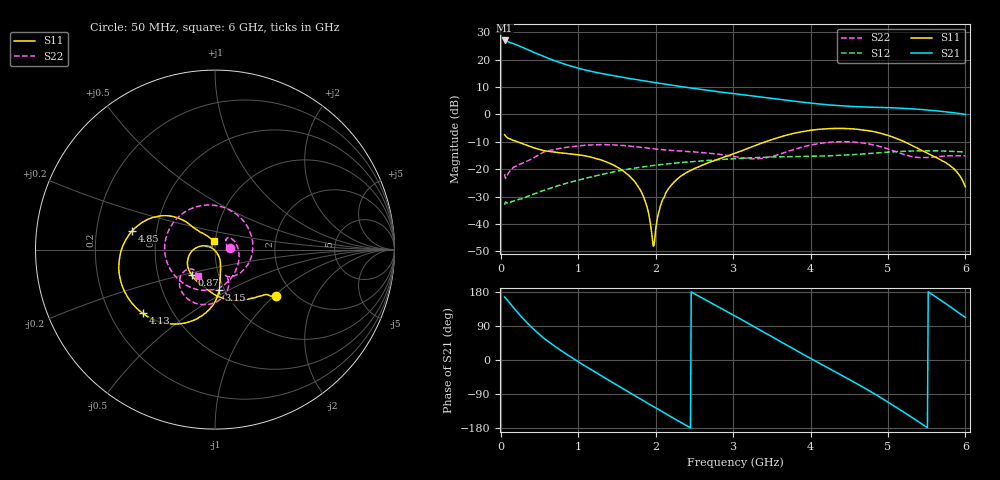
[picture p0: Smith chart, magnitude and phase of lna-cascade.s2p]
! agentee lna-cascade
! ports IN OUT
# Hz S RI R 50
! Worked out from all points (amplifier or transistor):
!   596 points, 50 MHz to 6 GHz, reference 50 ohm
!   highest |S21| = 27.0 dB at 50 MHz (marker M1)
!   |S21| within 3 dB of that: start of sweep to 319.9 MHz
!   unconditionally stable (mu >= 1): start of sweep to end of sweep
!   at 1.04 GHz: K = 1.26, MAG = 17.1 dB, |S12| = -23.7 dB
!   at 3.03 GHz: K = 1.41, MAG = 8.0 dB, |S12| = -16.1 dB
!   at 6 GHz: K = 2.46, MAG = 0.1 dB, |S12| = -13.8 dB
!   S11 on the Smith chart (normalised r, x): 50 MHz: 1.63, -1.02; 870 MHz: 0.74, -0.22; 3.15 GHz: 0.94, -0.45; 4.13 GHz: 0.34, -0.34; 4.85 GHz: 0.36, +0.10; 6 GHz: 0.98, +0.09
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5e7  0.3382 -0.2568  -21.7 5.357  0.0209 0.00821  0.0808 0.00888
1.8e8  0.1779 -0.2781  -13.45 13.65  0.0265 0.00429  0.0929 0.0608
2.4e8  0.1179 -0.2836  -8.929 15.29  0.0281 0.00514  0.1172 0.0349
3e8  0.0661 -0.2788  -4.718 15.59  0.0291 0.00399  0.132 -0.007
4.2e8  -0.00647 -0.2479  1.855 13.59  0.0351 0.00145  0.1209 -0.1044
5.4e8  -0.0493 -0.2154  5.77 10.09  0.0401 -0.00374  0.0575 -0.1916
6.9e8  -0.0947 -0.1816  7.628 5.848  0.0456 -0.0128  -0.0353 -0.2263
8.7e8  -0.1301 -0.14  7.713 1.714  0.0491 -0.0282  -0.1517 -0.2028
1.05e9  -0.1516 -0.0966  6.542 -1.27  0.0461 -0.047  -0.2426 -0.1202
1.28e9  -0.1455 -0.0353  4.373 -3.591  0.0312 -0.0726  -0.2803 0.0192
1.51e9  -0.1078 0.00851  1.89 -4.552  0.00124 -0.0924  -0.2229 0.1626
1.97e9  -0.00315 -0.00237  -2.083 -3.243  -0.0848 -0.0803  0.0754 0.2238
2.04e9  0.00762 -0.0144  -2.447 -2.803  -0.0971 -0.0708  0.1157 0.1992
2.46e9  0.0308 -0.0915  -3.029 0.0176  -0.136 0.0188  0.207 -0.0205
3.03e9  0.0261 -0.1948  -1.028 2.139  -0.0624 0.1435  0.076 -0.1509
3.15e9  0.0222 -0.2266  -0.4664 2.208  -0.0297 0.1567  0.0623 -0.1472
4.02e9  -0.3366 -0.3925  1.598 0.0571  0.1706 0.0211  0.0288 -0.278
4.13e9  -0.4028 -0.3552  1.517 -0.2713  0.1729 -0.0135  -0.00584 -0.2971
4.85e9  -0.461 0.1057  -0.048 -1.349  0.0251 -0.1961  -0.1987 -0.183
5.01e9  -0.3726 0.1687  -0.5 -1.228  -0.0424 -0.2003  -0.1871 -0.1383
5.48e9  -0.1464 0.1442  -1.208 -0.1141  -0.2061 -0.0654  -0.1107 -0.12
6e9  -0.00775 0.047  -0.3776 0.9238  -0.1211 0.1657  -0.0938 -0.1486
